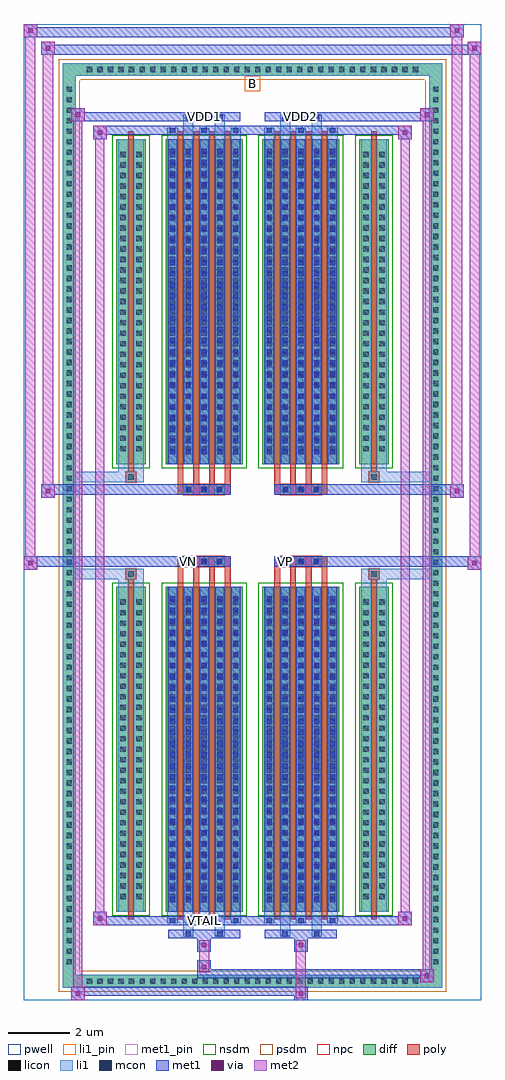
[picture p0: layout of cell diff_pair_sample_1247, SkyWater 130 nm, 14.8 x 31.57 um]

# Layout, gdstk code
import gdstk
lib = gdstk.Library(unit=1e-6, precision=5e-09)
def R(c, l, rs):  # rectangles x0, y0, x1, y1
    for r in rs: c.add(gdstk.rectangle(r[:2], r[2:], *l))
def A(c, l, x, y, w, h, nx, ny, dx, dy):  # array of equal rectangles
    R(c, l, [(x+i*dx, y+j*dy, x+i*dx+w, y+j*dy+h) for i in range(nx) for j in range(ny)])
def P(c, l, *ps):  # polygons
    for p in ps: c.add(gdstk.Polygon(p, *l))
pwell = (64, 44)
diff = (65, 20)
poly = (66, 20)
licon = (66, 44)
li1_pin = (67, 16)
li1 = (67, 20)
mcon = (67, 44)
met1_pin = (68, 16)
met1 = (68, 20)
via = (68, 44)
met2 = (69, 20)
nsdm = (93, 44)
psdm = (94, 20)
npc = (95, 20)

diff_pair_sample_1247 = lib.new_cell('diff_pair_sample_1247')
R(diff_pair_sample_1247, pwell, [(-7.4,-15.35,7.4,16.22), (-4.72,-13.54,-0.01,-0.8), (0.01,-13.54,4.72,-0.8), (-4.72,0.8,-0.01,13.54), (0.01,0.8,4.72,13.54)])
A(diff_pair_sample_1247, diff, -5.475, -14.95, 0.41, 0.41, 32, 2, 0.34, 29.49)
A(diff_pair_sample_1247, diff, -6.13, -14.315, 0.41, 0.41, 1, 84, 0, 0.34)
A(diff_pair_sample_1247, diff, 5.72, -14.315, 0.41, 0.41, 1, 84, 0, 0.34)
R(diff_pair_sample_1247, diff, [(-5.475,-14.95,5.475,-14.54), (-6.13,-14.315,-5.72,14.315), (5.72,-14.315,6.13,14.315), (-4.41,-12.495,-3.45,-1.985), (-2.81,-12.495,-0.32,-1.985), (0.32,-12.495,2.81,-1.985), (3.45,-12.495,4.41,-1.985), (-4.41,1.985,-3.45,12.495), (-2.81,1.985,-0.32,12.495), (0.32,1.985,2.81,12.495), (3.45,1.985,4.41,12.495), (-5.475,14.54,5.475,14.95)])
P(diff_pair_sample_1247, diff, [(6.13,14.95),(-6.13,14.95),(-6.13,-14.54),(-5.72,-14.54),(-5.72,14.54),(5.72,14.54),(5.72,-14.54),(-5.72,-14.54),(-6.13,-14.54),(-6.13,-14.95),(6.13,-14.95)])
A(diff_pair_sample_1247, poly, -2.42, -12.745, 0.18, 11.01, 4, 2, 0.51, 14.48)
A(diff_pair_sample_1247, poly, 0.71, -12.745, 0.18, 11.01, 4, 2, 0.51, 14.48)
A(diff_pair_sample_1247, poly, -2.42, -1.735, 0.18, 0.405, 4, 2, 0.51, 3.065)
A(diff_pair_sample_1247, poly, 0.71, -1.735, 0.18, 0.405, 4, 2, 0.51, 3.065)
A(diff_pair_sample_1247, poly, -2.23, -1.33, 0.33, 0.33, 3, 2, 0.5, 2.33)
A(diff_pair_sample_1247, poly, 0.9, -1.33, 0.33, 0.33, 3, 2, 0.5, 2.33)
R(diff_pair_sample_1247, poly, [(-4.02,-12.745,-3.84,-1.735), (3.84,-12.745,4.02,-1.735), (-4.095,-1.735,-3.765,-1.405), (-4.095,-1.735,-3.765,-1.405), (3.765,-1.735,4.095,-1.405), (3.765,-1.735,4.095,-1.405), (-2.42,-1.33,-0.71,-1), (0.71,-1.33,2.42,-1), (-2.42,1,-0.71,1.33), (0.71,1,2.42,1.33), (-4.095,1.405,-3.765,1.735), (-4.095,1.405,-3.765,1.735), (3.765,1.405,4.095,1.735), (3.765,1.405,4.095,1.735), (-4.02,1.735,-3.84,12.745), (3.84,1.735,4.02,12.745)])
A(diff_pair_sample_1247, licon, -5.355, -14.83, 0.17, 0.17, 32, 2, 0.34, 29.49)
A(diff_pair_sample_1247, licon, -6.01, -14.195, 0.17, 0.17, 1, 84, 0, 0.34)
A(diff_pair_sample_1247, licon, 5.84, -14.195, 0.17, 0.17, 1, 84, 0, 0.34)
A(diff_pair_sample_1247, licon, -4.27, -12.085, 0.17, 0.17, 1, 29, 0, 0.34)
A(diff_pair_sample_1247, licon, -3.76, -12.085, 0.17, 0.17, 1, 29, 0, 0.34)
A(diff_pair_sample_1247, licon, -2.67, -12.085, 0.17, 0.17, 5, 29, 0.51, 0.34)
A(diff_pair_sample_1247, licon, 0.46, -12.085, 0.17, 0.17, 5, 29, 0.51, 0.34)
A(diff_pair_sample_1247, licon, 3.59, -12.085, 0.17, 0.17, 1, 29, 0, 0.34)
A(diff_pair_sample_1247, licon, 4.1, -12.085, 0.17, 0.17, 1, 29, 0, 0.34)
A(diff_pair_sample_1247, licon, -2.15, -1.25, 0.17, 0.17, 3, 2, 0.5, 2.33)
A(diff_pair_sample_1247, licon, 0.98, -1.25, 0.17, 0.17, 3, 2, 0.5, 2.33)
A(diff_pair_sample_1247, licon, -4.27, 2.395, 0.17, 0.17, 1, 29, 0, 0.34)
A(diff_pair_sample_1247, licon, -3.76, 2.395, 0.17, 0.17, 1, 29, 0, 0.34)
A(diff_pair_sample_1247, licon, -2.67, 2.395, 0.17, 0.17, 5, 29, 0.51, 0.34)
A(diff_pair_sample_1247, licon, 0.46, 2.395, 0.17, 0.17, 5, 29, 0.51, 0.34)
A(diff_pair_sample_1247, licon, 3.59, 2.395, 0.17, 0.17, 1, 29, 0, 0.34)
A(diff_pair_sample_1247, licon, 4.1, 2.395, 0.17, 0.17, 1, 29, 0, 0.34)
R(diff_pair_sample_1247, licon, [(-4.015,-1.655,-3.845,-1.485), (3.845,-1.655,4.015,-1.485), (-4.015,1.485,-3.845,1.655), (3.845,1.485,4.015,1.655)])
R(diff_pair_sample_1247, li1_pin, [(-0.25,14.04,0.25,14.54)])
A(diff_pair_sample_1247, li1, -5.435, -14.91, 0.33, 0.33, 32, 2, 0.34, 29.49)
A(diff_pair_sample_1247, li1, -6.09, -14.275, 0.33, 0.33, 1, 84, 0, 0.34)
A(diff_pair_sample_1247, li1, 5.76, -14.275, 0.33, 0.33, 1, 84, 0, 0.34)
A(diff_pair_sample_1247, li1, -2.75, -12.87, 0.33, 0.375, 3, 2, 1.02, 25.365)
A(diff_pair_sample_1247, li1, -2.67, -12.87, 0.17, 0.17, 3, 2, 1.02, 25.57)
A(diff_pair_sample_1247, li1, 0.38, -12.87, 0.33, 0.375, 3, 2, 1.02, 25.365)
A(diff_pair_sample_1247, li1, 0.46, -12.87, 0.17, 0.17, 3, 2, 1.02, 25.57)
A(diff_pair_sample_1247, li1, -2.75, -12.495, 0.33, 10.51, 5, 2, 0.51, 14.48)
A(diff_pair_sample_1247, li1, 0.38, -12.495, 0.33, 10.51, 5, 2, 0.51, 14.48)
A(diff_pair_sample_1247, li1, -2.67, -12.185, 0.17, 0.17, 5, 28, 0.51, 0.36)
A(diff_pair_sample_1247, li1, -2.67, -12.185, 0.17, 9.89, 5, 2, 0.51, 14.48)
A(diff_pair_sample_1247, li1, 0.46, -12.185, 0.17, 0.17, 5, 28, 0.51, 0.36)
A(diff_pair_sample_1247, li1, 0.46, -12.185, 0.17, 9.89, 5, 2, 0.51, 14.48)
A(diff_pair_sample_1247, li1, -4.35, -12.165, 0.33, 0.33, 1, 29, 0, 0.34)
A(diff_pair_sample_1247, li1, -3.84, -12.165, 0.33, 0.33, 1, 29, 0, 0.34)
A(diff_pair_sample_1247, li1, -2.75, -12.165, 0.33, 0.33, 5, 29, 0.51, 0.34)
A(diff_pair_sample_1247, li1, 0.38, -12.165, 0.33, 0.33, 5, 29, 0.51, 0.34)
A(diff_pair_sample_1247, li1, 3.51, -12.165, 0.33, 0.33, 1, 29, 0, 0.34)
A(diff_pair_sample_1247, li1, 4.02, -12.165, 0.33, 0.33, 1, 29, 0, 0.34)
A(diff_pair_sample_1247, li1, -2.23, -1.33, 0.33, 0.33, 3, 2, 0.5, 2.33)
A(diff_pair_sample_1247, li1, 0.9, -1.33, 0.33, 0.33, 3, 2, 0.5, 2.33)
A(diff_pair_sample_1247, li1, -2.67, 2.295, 0.17, 0.17, 5, 28, 0.51, 0.36)
A(diff_pair_sample_1247, li1, 0.46, 2.295, 0.17, 0.17, 5, 28, 0.51, 0.36)
A(diff_pair_sample_1247, li1, -4.35, 2.315, 0.33, 0.33, 1, 29, 0, 0.34)
A(diff_pair_sample_1247, li1, -3.84, 2.315, 0.33, 0.33, 1, 29, 0, 0.34)
A(diff_pair_sample_1247, li1, -2.75, 2.315, 0.33, 0.33, 5, 29, 0.51, 0.34)
A(diff_pair_sample_1247, li1, 0.38, 2.315, 0.33, 0.33, 5, 29, 0.51, 0.34)
A(diff_pair_sample_1247, li1, 3.51, 2.315, 0.33, 0.33, 1, 29, 0, 0.34)
A(diff_pair_sample_1247, li1, 4.02, 2.315, 0.33, 0.33, 1, 29, 0, 0.34)
R(diff_pair_sample_1247, li1, [(-6.13,-14.95,-5.72,-14.54), (-6.13,-14.95,-5.72,-14.54), (-5.72,-14.95,5.72,-14.54), (5.72,-14.95,6.13,-14.54), (5.72,-14.95,6.13,-14.54), (-6.13,-14.54,-5.72,14.54), (5.72,-14.54,6.13,14.54), (-2.24,-13.3,-1.91,-12.495), (-2.16,-13.3,-1.99,-13.13), (-1.22,-13.3,-0.89,-12.495), (-1.14,-13.3,-0.97,-13.13), (0.89,-13.3,1.22,-12.495), (0.97,-13.3,1.14,-13.13), (1.91,-13.3,2.24,-12.495), (1.99,-13.3,2.16,-13.13), (-4.35,-12.495,-4.02,-1.985), (-3.84,-12.495,-3.51,-1.985), (3.51,-12.495,3.84,-1.985), (4.02,-12.495,4.35,-1.985), (-4.35,-1.985,-4.02,-1.405), (-3.84,-1.985,-3.51,-1.405), (3.51,-1.985,3.84,-1.405), (4.02,-1.985,4.35,-1.405), (-6.13,-1.735,-4.095,-1.405), (-4.35,-1.735,-4.095,-1.405), (-4.095,-1.735,-3.765,-1.405), (-3.765,-1.735,-3.51,-1.405), (3.51,-1.735,3.765,-1.405), (3.765,-1.735,4.095,-1.405), (3.765,-1.735,6.13,-1.405), (4.095,-1.735,4.35,-1.405), (-6.13,1.405,-4.095,1.735), (-4.35,1.405,-4.095,1.735), (-4.35,1.405,-4.02,1.985), (-4.095,1.405,-3.765,1.735), (-3.84,1.405,-3.51,1.985), (-3.765,1.405,-3.51,1.735), (3.51,1.405,3.765,1.735), (3.51,1.405,3.84,1.985), (3.765,1.405,4.095,1.735), (3.765,1.405,6.13,1.735), (4.02,1.405,4.35,1.985), (4.095,1.405,4.35,1.735), (-4.35,1.985,-4.02,12.495), (-3.84,1.985,-3.51,12.495), (3.51,1.985,3.84,12.495), (4.02,1.985,4.35,12.495), (-2.24,12.495,-1.91,13.3), (-1.22,12.495,-0.89,13.3), (0.89,12.495,1.22,13.3), (1.91,12.495,2.24,13.3), (-2.16,13.13,-1.99,13.3), (-1.14,13.13,-0.97,13.3), (0.97,13.13,1.14,13.3), (1.99,13.13,2.16,13.3), (-6.13,14.54,-5.72,14.95), (-6.13,14.54,-5.72,14.95), (-5.72,14.54,5.72,14.95), (5.72,14.54,6.13,14.95), (5.72,14.54,6.13,14.95)])
A(diff_pair_sample_1247, mcon, -2.67, -12.87, 0.17, 0.17, 3, 2, 1.02, 25.57)
A(diff_pair_sample_1247, mcon, 0.46, -12.87, 0.17, 0.17, 3, 2, 1.02, 25.57)
A(diff_pair_sample_1247, mcon, -2.67, -12.185, 0.17, 0.17, 5, 28, 0.51, 0.36)
A(diff_pair_sample_1247, mcon, 0.46, -12.185, 0.17, 0.17, 5, 28, 0.51, 0.36)
A(diff_pair_sample_1247, mcon, -2.15, -1.25, 0.17, 0.17, 3, 2, 0.5, 2.33)
A(diff_pair_sample_1247, mcon, 0.98, -1.25, 0.17, 0.17, 3, 2, 0.5, 2.33)
A(diff_pair_sample_1247, mcon, -2.67, 2.295, 0.17, 0.17, 5, 28, 0.51, 0.36)
A(diff_pair_sample_1247, mcon, 0.46, 2.295, 0.17, 0.17, 5, 28, 0.51, 0.36)
R(diff_pair_sample_1247, mcon, [(-2.16,-13.3,-1.99,-13.13), (-1.14,-13.3,-0.97,-13.13), (0.97,-13.3,1.14,-13.13), (1.99,-13.3,2.16,-13.13), (-2.16,13.13,-1.99,13.3), (-1.14,13.13,-0.97,13.3), (0.97,13.13,1.14,13.3), (1.99,13.13,2.16,13.3)])
R(diff_pair_sample_1247, met1_pin, [(-1.7,-12.91,-1.43,-12.64), (-2.2,-1.29,-1.93,-1.02), (0.93,-1.29,1.2,-1.02), (-1.7,13.09,-1.43,13.36), (1.43,13.09,1.7,13.36)])
A(diff_pair_sample_1247, met1, -2.73, -12.93, 0.29, 0.29, 3, 2, 1.02, 25.57)
A(diff_pair_sample_1247, met1, 0.4, -12.93, 0.29, 0.29, 3, 2, 1.02, 25.57)
A(diff_pair_sample_1247, met1, -2.73, -12.495, 0.29, 10.51, 5, 2, 0.51, 14.48)
A(diff_pair_sample_1247, met1, 0.4, -12.495, 0.29, 10.51, 5, 2, 0.51, 14.48)
A(diff_pair_sample_1247, met1, -2.73, -12.245, 0.29, 0.29, 5, 28, 0.51, 0.36)
A(diff_pair_sample_1247, met1, 0.4, -12.245, 0.29, 0.29, 5, 28, 0.51, 0.36)
A(diff_pair_sample_1247, met1, -2.21, -1.31, 0.29, 0.29, 3, 2, 0.5, 2.33)
A(diff_pair_sample_1247, met1, 0.92, -1.31, 0.29, 0.29, 3, 2, 0.5, 2.33)
A(diff_pair_sample_1247, met1, -2.73, 2.235, 0.29, 0.29, 5, 28, 0.51, 0.36)
A(diff_pair_sample_1247, met1, 0.4, 2.235, 0.29, 0.29, 5, 28, 0.51, 0.36)
R(diff_pair_sample_1247, met1, [(-5.86,-15.35,-5.43,-14.92), (1.35,-15.35,1.78,-14.92), (-5.86,-15.21,1.78,-14.92), (5.43,-14.78,5.86,-14.35), (-1.78,-14.64,5.86,-14.35), (-1.78,-14.5,-1.35,-14.07), (-1.78,-13.79,-1.35,-13.36), (1.35,-13.79,1.78,-13.36), (-2.73,-13.36,-0.4,-13.07), (-2.22,-13.36,-1.93,-13.07), (-1.2,-13.36,-0.91,-13.07), (0.4,-13.36,2.73,-13.07), (0.91,-13.36,1.2,-13.07), (1.93,-13.36,2.22,-13.07), (-5.15,-12.93,-4.72,-12.5), (-5.15,-12.93,-2.73,-12.64), (-2.73,-12.93,-0.4,-12.64), (-0.4,-12.93,0.4,-12.64), (0.4,-12.93,2.73,-12.64), (2.73,-12.93,5.15,-12.64), (4.72,-12.93,5.15,-12.5), (-7.4,-1.43,-6.97,-1), (6.97,-1.43,7.4,-1), (-7.4,-1.33,-0.71,-1), (-2.42,-1.33,-0.71,-1), (0.71,-1.33,2.42,-1), (0.71,-1.33,7.4,-1), (-6.83,0.9,-6.4,1.33), (6.4,0.9,6.83,1.33), (-6.83,1,-2.42,1.33), (-2.42,1,-0.71,1.33), (0.71,1,2.42,1.33), (2.42,1,6.83,1.33), (-5.15,12.5,-4.72,12.93), (4.72,12.5,5.15,12.93), (-5.15,12.64,-2.73,12.93), (-2.73,12.64,-0.4,12.93), (-0.4,12.64,0.4,12.93), (0.4,12.64,2.73,12.93), (2.73,12.64,5.15,12.93), (-5.86,13.07,-5.43,13.5), (-5.86,13.07,-2.73,13.36), (-2.73,13.07,-0.4,13.36), (-2.22,13.07,-1.93,13.36), (-1.2,13.07,-0.91,13.36), (0.4,13.07,2.73,13.36), (0.91,13.07,1.2,13.36), (1.93,13.07,2.22,13.36), (2.73,13.07,5.86,13.36), (5.43,13.07,5.86,13.5), (-6.83,15.22,-6.4,15.65), (-6.83,15.22,-4.72,15.55), (-4.72,15.22,4.72,15.55), (4.72,15.22,7.4,15.55), (6.97,15.22,7.4,15.65), (-7.4,15.79,-6.97,16.22), (-7.4,15.79,-4.72,16.12), (-4.72,15.79,4.72,16.12), (4.72,15.79,6.83,16.12), (6.4,15.79,6.83,16.22)])
R(diff_pair_sample_1247, via, [(-5.72,-15.21,-5.57,-15.06), (1.49,-15.21,1.64,-15.06), (5.57,-14.64,5.72,-14.49), (-1.64,-14.36,-1.49,-14.21), (-1.64,-13.65,-1.49,-13.5), (1.49,-13.65,1.64,-13.5), (-5.01,-12.79,-4.86,-12.64), (4.86,-12.79,5.01,-12.64), (-7.26,-1.29,-7.11,-1.14), (7.11,-1.29,7.26,-1.14), (-6.69,1.04,-6.54,1.19), (6.54,1.04,6.69,1.19), (-5.01,12.64,-4.86,12.79), (4.86,12.64,5.01,12.79), (-5.72,13.21,-5.57,13.36), (5.57,13.21,5.72,13.36), (-6.69,15.36,-6.54,15.51), (7.11,15.36,7.26,15.51), (-7.26,15.93,-7.11,16.08), (6.54,15.93,6.69,16.08)])
R(diff_pair_sample_1247, met2, [(-5.86,-15.35,-5.43,-14.92), (-5.79,-15.35,-5.5,13.5), (-5.5,-15.35,-5.43,-14.92), (-5.81,-15.3,-5.48,-14.97), (1.4,-15.3,1.73,-14.97), (1.4,-14.97,1.73,-13.74), (5.43,-14.78,5.86,-14.35), (5.5,-14.78,5.79,13.5), (5.79,-14.78,5.86,-14.35), (5.48,-14.73,5.81,-14.4), (-1.73,-14.45,-1.4,-14.12), (-1.73,-14.12,-1.4,-13.74), (-1.73,-13.74,-1.4,-13.41), (1.4,-13.74,1.73,-13.41), (-5.15,-12.93,-4.72,-12.5), (-5.08,-12.93,-4.79,12.93), (-4.79,-12.93,-4.72,-12.5), (4.72,-12.93,5.15,-12.5), (4.79,-12.93,5.08,12.93), (5.08,-12.93,5.15,-12.5), (-5.1,-12.88,-4.77,-12.55), (4.77,-12.88,5.1,-12.55), (-7.4,-1.43,-6.97,-1), (-7.35,-1.43,-7.02,16.22), (-7.02,-1.43,-6.97,-1), (6.97,-1.43,7.4,-1), (7.02,-1.43,7.35,15.65), (7.35,-1.43,7.4,-1), (-7.35,-1.38,-7.02,-1.05), (7.02,-1.38,7.35,-1.05), (-6.83,0.9,-6.4,1.33), (-6.78,0.9,-6.45,15.65), (-6.45,0.9,-6.4,1.33), (6.4,0.9,6.83,1.33), (6.45,0.9,6.78,16.22), (6.78,0.9,6.83,1.33), (-6.78,0.95,-6.45,1.28), (6.45,0.95,6.78,1.28), (-5.15,12.5,-4.72,12.93), (-4.79,12.5,-4.72,12.93), (4.72,12.5,5.15,12.93), (5.08,12.5,5.15,12.93), (-5.1,12.55,-4.77,12.88), (4.77,12.55,5.1,12.88), (-5.86,13.07,-5.43,13.5), (-5.5,13.07,-5.43,13.5), (5.43,13.07,5.86,13.5), (5.79,13.07,5.86,13.5), (-5.81,13.12,-5.48,13.45), (5.48,13.12,5.81,13.45), (-6.83,15.22,-6.4,15.65), (-6.45,15.22,-6.4,15.65), (6.97,15.22,7.4,15.65), (7.35,15.22,7.4,15.65), (-6.78,15.27,-6.45,15.6), (7.02,15.27,7.35,15.6), (-7.4,15.79,-6.97,16.22), (-7.02,15.79,-6.97,16.22), (6.4,15.79,6.83,16.22), (6.78,15.79,6.83,16.22), (-7.35,15.84,-7.02,16.17), (6.45,15.84,6.78,16.17)])
R(diff_pair_sample_1247, nsdm, [(-4.54,-12.625,-3.32,-1.855), (-2.94,-12.625,-0.19,-1.855), (0.19,-12.625,2.94,-1.855), (3.32,-12.625,4.54,-1.855), (-4.54,1.855,-3.32,12.625), (-2.94,1.855,-0.19,12.625), (0.19,1.855,2.94,12.625), (3.32,1.855,4.54,12.625)])
P(diff_pair_sample_1247, psdm, [(6.26,15.08),(-6.26,15.08),(-6.26,-14.41),(-5.59,-14.41),(-5.59,14.41),(5.59,14.41),(5.59,-14.41),(-5.59,-14.41),(-6.26,-14.41),(-6.26,-15.08),(6.26,-15.08)])
A(diff_pair_sample_1247, npc, -2.25, -1.35, 0.37, 0.37, 3, 2, 0.5, 2.33)
A(diff_pair_sample_1247, npc, 0.88, -1.35, 0.37, 0.37, 3, 2, 0.5, 2.33)
R(diff_pair_sample_1247, npc, [(-4.115,-1.755,-3.745,-1.385), (3.745,-1.755,4.115,-1.385), (-2.25,-1.35,-1.38,-0.98), (-2.25,-1.35,-1.38,-0.98), (-1.75,-1.35,-0.88,-0.98), (-1.75,-1.35,-0.88,-0.98), (0.88,-1.35,1.75,-0.98), (0.88,-1.35,1.75,-0.98), (1.38,-1.35,2.25,-0.98), (1.38,-1.35,2.25,-0.98), (-2.25,0.98,-1.38,1.35), (-2.25,0.98,-1.38,1.35), (-1.75,0.98,-0.88,1.35), (-1.75,0.98,-0.88,1.35), (0.88,0.98,1.75,1.35), (0.88,0.98,1.75,1.35), (1.38,0.98,2.25,1.35), (1.38,0.98,2.25,1.35), (-4.115,1.385,-3.745,1.755), (3.745,1.385,4.115,1.755)])
diff_pair_sample_1247.add(gdstk.Label('VTAIL', (-1.565,-12.775), layer=68, texttype=5))
diff_pair_sample_1247.add(gdstk.Label('VN', (-2.065,-1.155), layer=68, texttype=5))
diff_pair_sample_1247.add(gdstk.Label('VP', (1.065,-1.155), layer=68, texttype=5))
diff_pair_sample_1247.add(gdstk.Label('B', (0,14.29), layer=67, texttype=5))
diff_pair_sample_1247.add(gdstk.Label('VDD2', (1.565,13.225), layer=68, texttype=5))
diff_pair_sample_1247.add(gdstk.Label('VDD1', (-1.565,13.225), layer=68, texttype=5))

lib.write_gds('diff_pair_sample_1247.gds')
